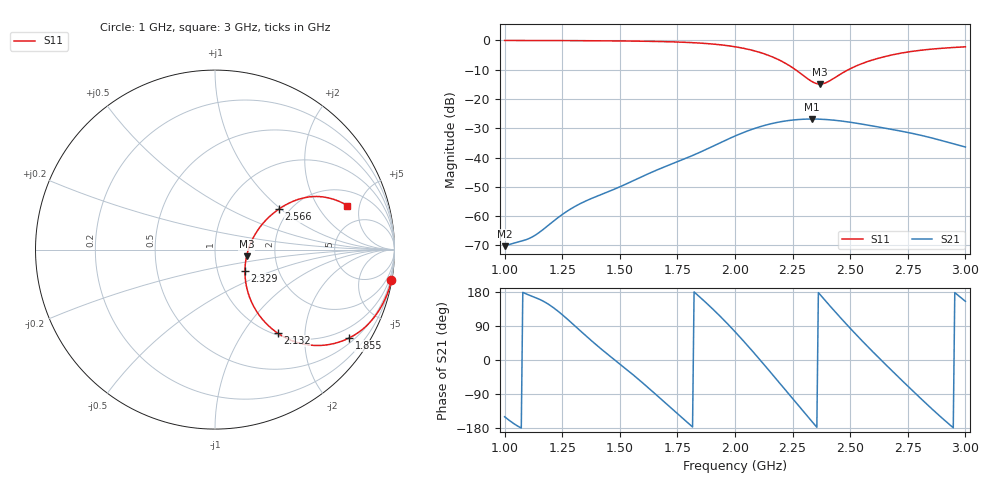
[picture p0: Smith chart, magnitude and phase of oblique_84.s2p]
! TOUCHSTONE file generated by CST MICROWAVE STUDIO
! Date and time: Tue Mar 18 00:01:37 2025
! Project name: oblique.cst
! Parameters = {Tilt=30; Fracture=1; B=12.5; D=160; F=15; Feed=2.85625; L=100; M=10; R=0.384908; S=2; Theta=270; length=57.125; wave=114.25}
! Header version: 2024
! Port assignment regex: !\s*Touchstone port\s*([0-9]+)\s*=\s*(CST MWS port|CST DES external port|CST DES block port)\s*(.+)\s* \(\"(.*)\"\)(\s*mode\s*([0-9]+))?.*
! Touchstone port assignment:
! Touchstone port 1 = CST MWS port 1 ("")
! Touchstone port 2 = CST MWS port 2 ("")
# GHz S DB R 50
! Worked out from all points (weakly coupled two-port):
!   305 points, 1 GHz to 3 GHz, reference 50 ohm
!   highest |S21| = -26.86 dB at 2.336 GHz (marker M1); lowest = -70.3 dB at 1 GHz (marker M2)
!   lowest |S11| = -14.9 dB at 2.368 GHz (marker M3), VSWR 1.44, Z = 71 - j5.58 ohm
!   |S11| at or under -10 dB: 2.262 GHz to 2.492 GHz (229.6 MHz wide, 9.66 % of centre)
!   S12 and S22 are empty: the file has one direction only
!   S11 on the Smith chart (normalised r, x): 1 GHz: 0, -12; 1.855 GHz: 0.65, -3.23; 2.132 GHz: 1.03, -1.45; 2.329 GHz: 1.35, -0.33; 2.566 GHz: 1.77, +0.97; 3 GHz: 3.07, +3.80
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1  -0.02 -9.8  -70.29 -149.7  -200.00 0.0  -200.00 0.0
1.08553  -0.03 -11.0  -68.29 176.6  -200.00 0.0  -200.00 0.0
1.125  -0.04 -11.5  -66.91 166.9  -200.00 0.0  -200.00 0.0
1.25658  -0.06 -13.7  -59.12 116.2  -200.00 0.0  -200.00 0.0
1.33553  -0.09 -15.2  -55.48 73.3  -200.00 0.0  -200.00 0.0
1.51974  -0.20 -19.5  -49.33 -20.2  -200.00 0.0  -200.00 0.0
1.67105  -0.38 -24.4  -43.94 -98.9  -200.00 0.0  -200.00 0.0
1.85526  -0.95 -33.3  -37.94 161.8  -200.00 0.0  -200.00 0.0
2  -2.17 -43.3  -32.66 74.7  -200.00 0.0  -200.00 0.0
2.06579  -3.20 -48.4  -30.60 30.3  -200.00 0.0  -200.00 0.0
2.13158  -4.72 -53.1  -28.97 -16.1  -200.00 0.0  -200.00 0.0
2.22368  -8.04 -55.9  -27.46 -82.7  -200.00 0.0  -200.00 0.0
2.27632  -10.78 -51.4  -27.02 -120.9  -200.00 0.0  -200.00 0.0
2.32895  -13.82 -35.1  -26.86 -158.8  -200.00 0.0  -200.00 0.0
2.33553  -14.13 -31.8  -26.86 -163.5  -200.00 0.0  -200.00 0.0
2.36842  -14.91 -12.2  -26.91 173.2  -200.00 0.0  -200.00 0.0
2.40132  -14.21 6.7  -27.06 150.2  -200.00 0.0  -200.00 0.0
2.46711  -11.09 26.5  -27.59 105.4  -200.00 0.0  -200.00 0.0
2.56579  -7.49 32.4  -28.79 41.7  -200.00 0.0  -200.00 0.0
2.67105  -5.14 30.8  -30.26 -22.3  -200.00 0.0  -200.00 0.0
2.82895  -3.17 24.5  -32.83 -114.5  -200.00 0.0  -200.00 0.0
3  -2.19 18.4  -36.42 154.9  -200.00 0.0  -200.00 0.0
